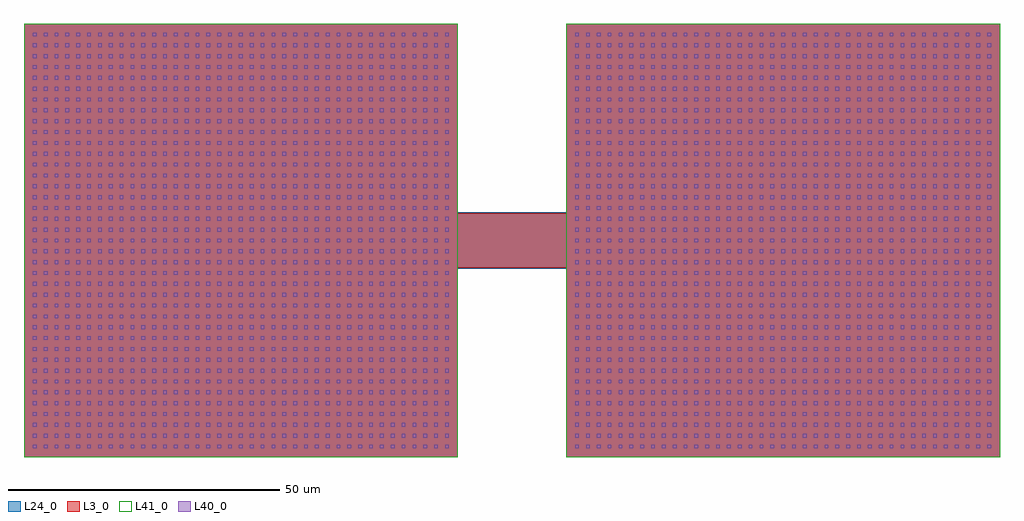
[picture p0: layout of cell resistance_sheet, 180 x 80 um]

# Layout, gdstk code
import gdstk
lib = gdstk.Library(unit=1e-6, precision=1e-09)
def R(c, l, rs):  # rectangles x0, y0, x1, y1
    for r in rs: c.add(gdstk.rectangle(r[:2], r[2:], *l))
L3_0 = (3, 0)
L24_0 = (24, 0)
L40_0 = (40, 0)
L41_0 = (41, 0)

compass_d7a38064 = lib.new_cell('compass_d7a38064')
R(compass_d7a38064, L3_0, [(-40,-40,40,40)])

compass_b77e368c = lib.new_cell('compass_b77e368c')
R(compass_b77e368c, L24_0, [(-40,-40,40,40)])

compass_5d54db35 = lib.new_cell('compass_5d54db35')
R(compass_5d54db35, L41_0, [(-40,-40,40,40)])

via = lib.new_cell('via')
R(via, L40_0, [(-0.35,-0.35,0.35,0.35)])

via_stack_3d2f5545 = lib.new_cell('via_stack_3d2f5545')
via_stack_3d2f5545.add(gdstk.Reference(compass_d7a38064, (0,0)))
via_stack_3d2f5545.add(gdstk.Reference(compass_b77e368c, (0,0)))
via_stack_3d2f5545.add(gdstk.Reference(compass_5d54db35, (0,0)))
r = gdstk.Reference(via, (-38,-38)); r.repetition = gdstk.Repetition(39, 39, v1=(2,0), v2=(0,2)); via_stack_3d2f5545.add(r)

compass_layerslab90_size = lib.new_cell('compass_layerSLAB90_size20p0__10')
R(compass_layerslab90_size, L3_0, [(-10,-5,10,5)])

compass_layernpp_size20p = lib.new_cell('compass_layerNPP_size20p4__10p4')
R(compass_layernpp_size20p, L24_0, [(-10.2,-5.2,10.2,5.2)])

resistance_sheet = lib.new_cell('resistance_sheet')
resistance_sheet.add(gdstk.Reference(via_stack_3d2f5545, (-50,0)))
resistance_sheet.add(gdstk.Reference(via_stack_3d2f5545, (50,0)))
resistance_sheet.add(gdstk.Reference(compass_layerslab90_size, (0,0)))
resistance_sheet.add(gdstk.Reference(compass_layernpp_size20p, (0,0)))

lib.write_gds('resistance_sheet.gds')
